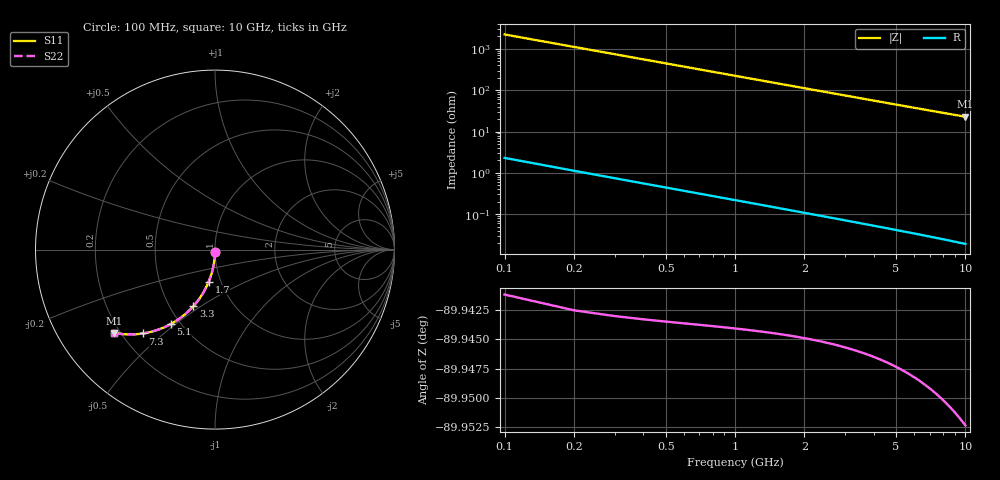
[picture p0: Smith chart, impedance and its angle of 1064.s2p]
# Hz S RI R 50.00
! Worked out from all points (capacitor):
!   100 points, 100 MHz to 10 GHz, reference 50 ohm
!   read as one part in shunt: C = 711 fF near 100 MHz
!   lowest |Z| = 22.8 ohm at 10 GHz (marker M1)
!   S11 on the Smith chart (normalised r, x): 100 MHz: 1.00, -0.02; 1.7 GHz: 0.88, -0.32; 3.3 GHz: 0.65, -0.46; 5.1 GHz: 0.44, -0.48; 7.3 GHz: 0.28, -0.43; 10 GHz: 0.18, -0.35
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1e8  8.42e-06 -0.0109  0.9997 -0.0115  0.9997 -0.0115  8.42e-06 -0.0109
2e8  -0.000376 -0.0217  0.9993 -0.023  0.9993 -0.023  -0.000376 -0.0217
3e8  -0.00101 -0.0326  0.9987 -0.0344  0.9987 -0.0344  -0.00101 -0.0326
4e8  -0.00189 -0.0434  0.9978 -0.0458  0.9978 -0.0458  -0.00189 -0.0434
5e8  -0.00302 -0.0542  0.9967 -0.0572  0.9967 -0.0572  -0.00302 -0.0542
6e8  -0.00439 -0.0649  0.9953 -0.0686  0.9953 -0.0686  -0.00439 -0.0649
8e8  -0.00786 -0.0862  0.9918 -0.0911  0.9918 -0.0911  -0.00786 -0.0862
9e8  -0.00996 -0.0968  0.9897 -0.1023  0.9897 -0.1023  -0.00996 -0.0968
1.1e9  -0.0148 -0.1177  0.9848 -0.1245  0.9848 -0.1245  -0.0148 -0.1177
1.4e9  -0.0239 -0.1484  0.9758 -0.157  0.9758 -0.157  -0.0239 -0.1484
1.7e9  -0.0349 -0.1781  0.9648 -0.1886  0.9648 -0.1886  -0.0349 -0.1781
1.8e9  -0.0389 -0.1878  0.9607 -0.1989  0.9607 -0.1989  -0.0389 -0.1878
2.1e9  -0.0523 -0.216  0.9473 -0.229  0.9473 -0.229  -0.0523 -0.216
2.5e9  -0.0726 -0.2516  0.927 -0.267  0.927 -0.267  -0.0726 -0.2516
3.3e9  -0.1201 -0.3147  0.8794 -0.3351  0.8794 -0.3351  -0.1201 -0.3147
3.4e9  -0.1266 -0.3218  0.8729 -0.3428  0.8729 -0.3428  -0.1266 -0.3218
4.2e9  -0.1813 -0.3721  0.818 -0.398  0.818 -0.398  -0.1813 -0.3721
5.1e9  -0.2466 -0.415  0.7526 -0.4465  0.7526 -0.4465  -0.2466 -0.415
6.7e9  -0.362 -0.4594  0.6368 -0.5011  0.6368 -0.5011  -0.362 -0.4594
7.3e9  -0.403 -0.4674  0.5957 -0.5128  0.5957 -0.5128  -0.403 -0.4674
8.4e9  -0.4729 -0.4725  0.5254 -0.525  0.5254 -0.525  -0.4729 -0.4725
1e10  -0.5614 -0.4641  0.4363 -0.527  0.4363 -0.527  -0.5614 -0.4641
